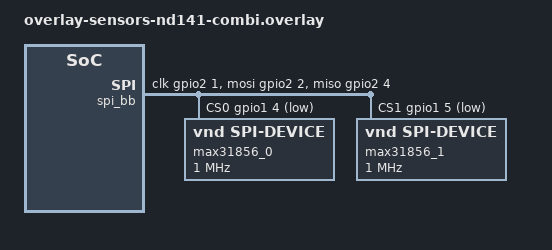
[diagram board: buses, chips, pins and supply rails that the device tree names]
/* Sensor overlay: ND141 combi — 2x MAX31856 (bitbang SPI) + BMP390 (I2C) + watermeter
 *   P2.01 = SCK  (D8)
 *   P2.02 = MOSI (D10)
 *   P2.04 = MISO (D9)
 *   P1.04 = CS1  (D0)  — MAX31856 #1
 *   P1.05 = CS2  (D1)  — MAX31856 #2
 *   P1.07 = watermeter pulse (D3) — via alias in board overlay, NIET als CS!
 *   BMP390 op I2C (zelfde node als bmp388, register-compatibel)
 *
 * NB: bmp388_0 blijft enabled — BMP390 gebruikt die node.
 * NB: max 2 MAX31856 op deze node — P1.06/P1.07 blijven vrij.
 */

&spi00 {
    status = "disabled";
};

&sht4x0  { status = "disabled"; };
&scd41_0 { status = "disabled"; };
/* bmp388_0 NIET disablen — BMP390 gebruikt deze node */

/ {
    spi_bb: spi_bitbang {
        compatible = "zephyr,spi-bitbang";
        status = "okay";
        #address-cells = <1>;
        #size-cells = <0>;
        clk-gpios  = <&gpio2 1 GPIO_ACTIVE_HIGH>;
        mosi-gpios = <&gpio2 2 GPIO_ACTIVE_HIGH>;
        miso-gpios = <&gpio2 4 GPIO_ACTIVE_HIGH>;
        cs-gpios   = <&gpio1 4 GPIO_ACTIVE_LOW>,
                     <&gpio1 5 GPIO_ACTIVE_LOW>;

        max31856_0: max31856@0 {
            compatible = "vnd,spi-device";
            reg = <0>;
            spi-max-frequency = <1000000>;
        };

        max31856_1: max31856@1 {
            compatible = "vnd,spi-device";
            reg = <1>;
            spi-max-frequency = <1000000>;
        };
    };

    aliases {
        max31856-0 = &max31856_0;
        max31856-1 = &max31856_1;
    };
};
